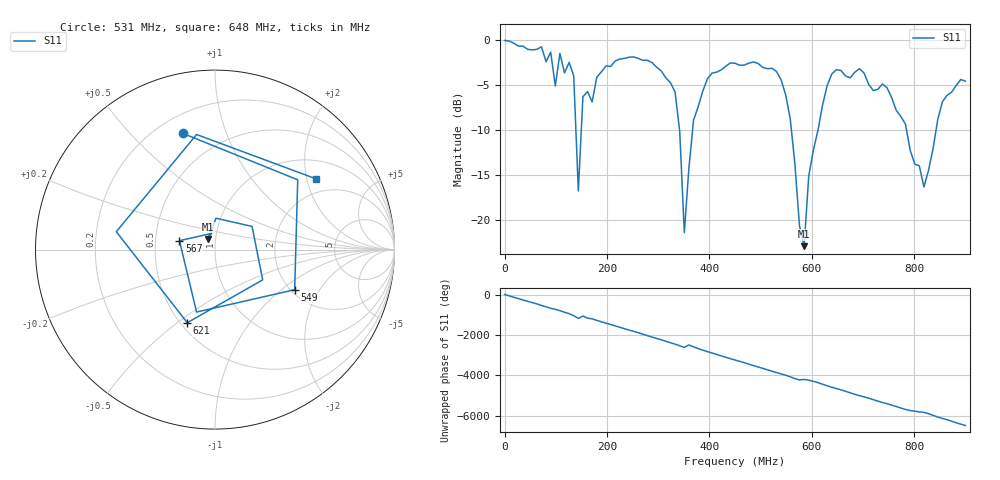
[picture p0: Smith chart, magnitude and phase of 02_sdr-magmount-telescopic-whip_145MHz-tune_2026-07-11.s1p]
! Antenna S11 sweep  |  SDR magnetic-mount antenna (mag base, RG58 2m cable, SMA-male; adjustable telescoping whip). Tested on bench, NO metal ground plane. Whip currently tuned to 145MHz (VSWR 1.14). Retunable by whip length.
! Device: NanoVNA-H fw1.2.44  |  cal 50kHz-900MHz  |  101 points
# Hz S RI R 50
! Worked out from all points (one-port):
!   101 points, 50 kHz to 900 MHz, reference 50 ohm
!   lowest |S11| = -23.0 dB at 585 MHz (marker M1), VSWR 1.15, Z = 45.8 + j5.39 ohm
!   |S11| at or under -10 dB: 341.7 MHz to 367.2 MHz (25.46 MHz wide, 7.18 % of centre); 560.2 MHz to 612.1 MHz (51.97 MHz wide, 8.87 % of centre); 785 MHz to 842.7 MHz (57.69 MHz wide, 7.09 % of centre) (the widest 3 of 4)
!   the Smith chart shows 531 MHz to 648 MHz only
!   S11 on the Smith chart (normalised r, x): 531 MHz: 0.30, +0.72; 549 MHz: 2.10, -1.24; 567 MHz: 0.67, +0.07; 621 MHz: 0.54, -0.54; 648 MHz: 1.52, +2.28
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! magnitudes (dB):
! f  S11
! 50 kHz  0.0
! 99.04 MHz  -5.1
! 117 MHz  -3.6
! 135 MHz  -4.0
! 144 MHz  -16.8
! 153 MHz  -6.3
! 225 MHz  -2.1
! 306 MHz  -3.4
! 333 MHz  -5.8
! 342 MHz  -10.1
! 351 MHz  -21.5
! 369 MHz  -8.9
! 396 MHz  -4.3
! 450 MHz  -2.5
! 531 MHz  -3.5
! 549 MHz  -6.1
! 567 MHz  -13.8
! 576 MHz  -20.7
! 585 MHz  -23.0
! 594 MHz  -15.1
! 621 MHz  -7.2
! 648 MHz  -3.3
! 675 MHz  -4.2
! 747 MHz  -5.3
! 792 MHz  -12.2
! 819 MHz  -16.4
! 855 MHz  -6.9
! 900 MHz  -4.5
